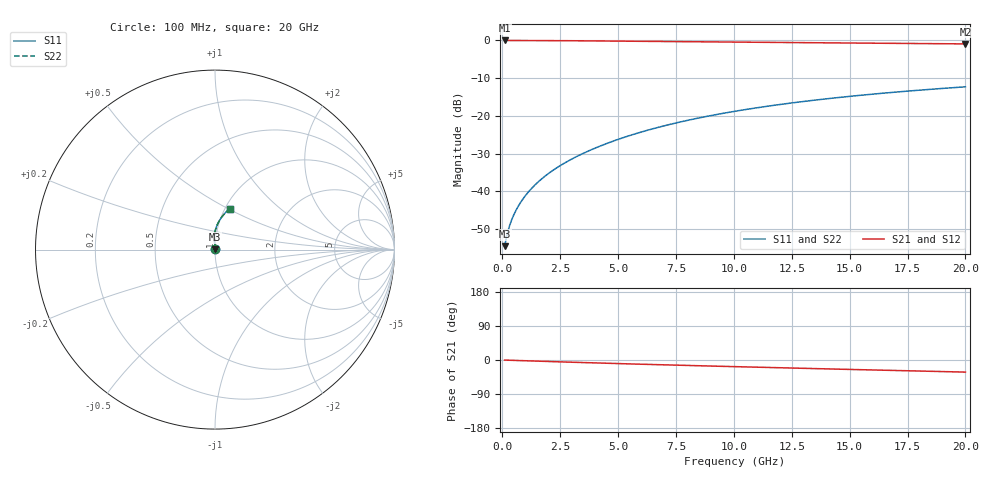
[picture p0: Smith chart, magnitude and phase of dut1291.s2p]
! Touchstone file exported from HFSS 2024.1.0
!  File:  C:/UserFiles/LocalFiles/RDL_TSV_Batchsim/temp_RDL_bottom_1291_1780247070.aedt
!  Generated:  01:06:39 AM Jun  1, 2026
!  Design:  RDL_bottom
!  Project:  temp_RDL_bottom_1291_1780247070
!  Setup:  Setup1
!  Solution:  Sweep
! Variables:
!  dtsv = 10.80580581um
!  hbump = 3um
!  htsv = 54.82um
!  ldown = 500.84um
!  lrdl = 100um
!  p = 40
!  p1 = 47.45um
!  rhole = 1um
!  t = 450um
!  tdown = 4.74um
!  trdl = 3.915915916um
!  wdown = 27.88um
!  wrdl = 20um
# GHz S MA R 50.000000
! Terminal data exported
! Port[1] = RDL1_T1
! Port[2] = RDL1_T2
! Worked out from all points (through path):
!   200 points, 100 MHz to 20 GHz, reference 50 ohm
!   highest |S21| = -0.01 dB at 100 MHz (marker M1); lowest = -0.9 dB at 20 GHz (marker M2)
!   group delay of S21, straight-line fit = 4.35 ps
!   lowest |S11| = -54.5 dB at 100 MHz (marker M3), VSWR 1.00, Z = 50.2 + j0.104 ohm
!   |S11| at or under -10 dB: start of sweep to end of sweep
!   |S22| runs from -54.5 to -12.3 dB; largest |S21 - S12| = 3.4e-15
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0.1  0.001877 33.6  0.9984 -0.2  0.9984 -0.2  0.001877 33.6
! Gamma 0 0 0 0
! Port Impedance 50 0 50 0
0.2  0.002616 49.8  0.9982 -0.4  0.9982 -0.4  0.002616 49.8
0.3  0.003397 57.8  0.9981 -0.6  0.9981 -0.6  0.003396 57.8
0.4  0.00416 62.9  0.9979 -0.8  0.9979 -0.8  0.004159 62.9
0.5  0.004913 66.7  0.9977 -1.0  0.9977 -1.0  0.004911 66.7
0.6  0.005668 69.8  0.9976 -1.2  0.9976 -1.2  0.005666 69.8
0.8  0.007202 74.5  0.9973 -1.6  0.9973 -1.6  0.0072 74.6
1.1  0.009584 79.5  0.9967 -2.2  0.9967 -2.2  0.009583 79.5
1.6  0.01376 84.6  0.9954 -3.2  0.9954 -3.2  0.01376 84.6
2.1  0.01818 87.9  0.9938 -4.2  0.9938 -4.2  0.01818 87.9
2.7  0.02382 90.4  0.9913 -5.3  0.9913 -5.3  0.02382 90.5
3.5  0.03192 92.5  0.9874 -6.8  0.9874 -6.8  0.03193 92.6
4.2  0.03954 93.5  0.9836 -8.1  0.9836 -8.1  0.03955 93.5
5  0.0488 93.9  0.979 -9.5  0.979 -9.5  0.04882 93.9
5.9  0.05983 93.6  0.9736 -11.0  0.9736 -11.0  0.05986 93.7
6.8  0.07135 92.9  0.9681 -12.5  0.9681 -12.5  0.0714 92.9
8.4  0.09266 90.8  0.9586 -15.0  0.9586 -15.0  0.09272 90.8
10.1  0.1158 87.9  0.949 -17.7  0.949 -17.7  0.1159 87.9
11.7  0.1376 85.0  0.9404 -20.1  0.9404 -20.1  0.1377 85.0
13.4  0.1604 81.8  0.9316 -22.6  0.9316 -22.6  0.1605 81.8
16.7  0.203 75.7  0.9151 -27.3  0.9151 -27.3  0.2031 75.7
20  0.2427 69.9  0.8991 -31.9  0.8991 -31.9  0.2428 70.0
